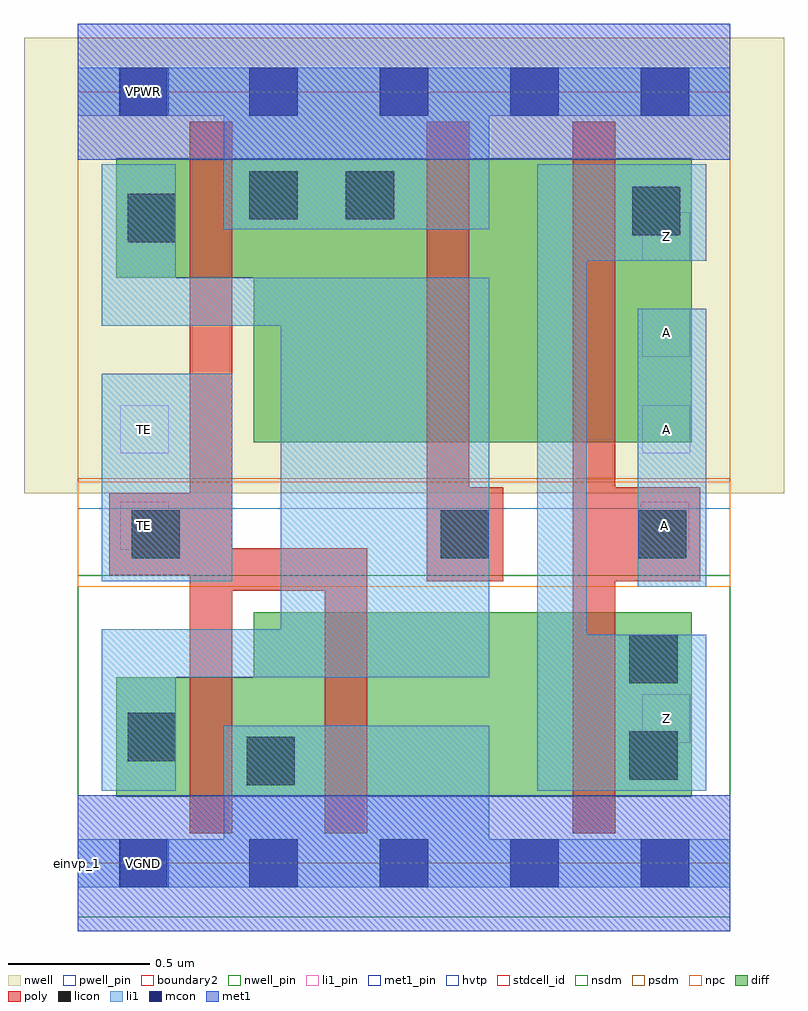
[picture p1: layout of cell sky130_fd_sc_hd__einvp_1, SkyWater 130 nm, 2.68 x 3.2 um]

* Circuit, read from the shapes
.subckt sky130_fd_sc_hd__einvp_1 A TE VGND VNB VPB VPWR Z
XM1 VGND TE n1 VNB sky130_fd_pr__nfet_01v8 w=0.42 l=0.15
XM2 n2 TE VGND VNB sky130_fd_pr__nfet_01v8 w=0.65 l=0.15
XM3 Z A n2 VNB sky130_fd_pr__nfet_01v8 w=0.65 l=0.15
XM4 VPWR TE n1 VPB sky130_fd_pr__pfet_01v8_hvt w=0.42 l=0.15
XM5 n3 n1 VPWR VPB sky130_fd_pr__pfet_01v8_hvt w=1 l=0.15
XM6 Z A n3 VPB sky130_fd_pr__pfet_01v8_hvt w=1 l=0.15
.ends

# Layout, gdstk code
import gdstk
lib = gdstk.Library(unit=1e-6, precision=1e-09)
def R(c, l, rs):  # rectangles x0, y0, x1, y1
    for r in rs: c.add(gdstk.rectangle(r[:2], r[2:], *l))
def A(c, l, x, y, w, h, nx, ny, dx, dy):  # array of equal rectangles
    R(c, l, [(x+i*dx, y+j*dy, x+i*dx+w, y+j*dy+h) for i in range(nx) for j in range(ny)])
def P(c, l, *ps):  # polygons
    for p in ps: c.add(gdstk.Polygon(p, *l))
nwell_pin = (64, 16)
nwell = (64, 20)
diff = (65, 20)
poly = (66, 20)
licon = (66, 44)
li1_pin = (67, 16)
li1 = (67, 20)
mcon = (67, 44)
met1_pin = (68, 16)
met1 = (68, 20)
hvtp = (78, 44)
stdcell_id = (81, 4)
nsdm = (93, 44)
psdm = (94, 20)
npc = (95, 20)
pwell_pin = (122, 16)
boundary2 = (236, 0)

sky130_fd_sc_hd__einvp_1 = lib.new_cell('sky130_fd_sc_hd__einvp_1')
R(sky130_fd_sc_hd__einvp_1, nwell_pin, [(0.15,2.635,0.32,2.805)])
R(sky130_fd_sc_hd__einvp_1, nwell, [(-0.19,1.305,2.49,2.91)])
P(sky130_fd_sc_hd__einvp_1, diff, [(2.165,0.885),(0.62,0.885),(0.62,0.655),(0.135,0.655),(0.135,0.235),(2.165,0.235)],
  [(2.165,2.485),(0.135,2.485),(0.135,2.065),(0.62,2.065),(0.62,1.485),(2.165,1.485)])
R(sky130_fd_sc_hd__einvp_1, poly, [(0.11,1.015,0.395,1.025), (0.11,1.295,0.395,1.305)])
P(sky130_fd_sc_hd__einvp_1, poly, [(1.5,1.325),(1.38,1.325),(1.38,2.615),(1.23,2.615),(1.23,0.995),(1.5,0.995)],
  [(2.195,1.325),(1.895,1.325),(1.895,2.615),(1.745,2.615),(1.745,0.105),(1.895,0.105),(1.895,0.995),(2.195,0.995)],
  [(1.02,1.11),(0.545,1.11),(0.545,2.615),(0.395,2.615),(0.395,1.295),(0.11,1.295),(0.11,1.025),(0.395,1.025),(0.395,0.105),(0.545,0.105),(0.545,0.96),(0.87,0.96),(0.87,0.105),(1.02,0.105)])
R(sky130_fd_sc_hd__einvp_1, licon, [(0.595,0.275,0.765,0.445), (1.945,0.295,2.115,0.465), (0.175,0.36,0.345,0.53), (1.945,0.635,2.115,0.805), (0.19,1.075,0.36,1.245), (1.28,1.075,1.45,1.245), (1.975,1.075,2.145,1.245), (0.175,2.19,0.345,2.36), (1.955,2.215,2.125,2.385), (0.605,2.27,0.775,2.44), (0.945,2.27,1.115,2.44)])
A(sky130_fd_sc_hd__einvp_1, li1_pin, 1.99, 1.445, 0.17, 0.17, 1, 3, 0, 0.34)
R(sky130_fd_sc_hd__einvp_1, li1_pin, [(1.99,0.425,2.16,0.595), (0.15,1.105,0.32,1.275), (1.985,1.105,2.155,1.275), (0.15,1.445,0.32,1.615)])
R(sky130_fd_sc_hd__einvp_1, li1, [(1.975,0.975,2.215,1.955), (0.085,0.995,0.545,1.725)])
P(sky130_fd_sc_hd__einvp_1, li1, [(2.215,0.805),(1.795,0.805),(1.795,2.125),(2.215,2.125),(2.215,2.465),(1.62,2.465),(1.62,0.255),(2.215,0.255)],
  [(2.3,2.805),(0,2.805),(0,2.635),(0.515,2.635),(0.515,2.235),(1.45,2.235),(1.45,2.635),(2.3,2.635)],
  [(1.45,2.065),(0.345,2.065),(0.345,2.465),(0.085,2.465),(0.085,1.895),(0.715,1.895),(0.715,0.825),(0.085,0.825),(0.085,0.255),(0.345,0.255),(0.345,0.655),(1.45,0.655)],
  [(2.3,0.085),(1.45,0.085),(1.45,0.485),(0.515,0.485),(0.515,0.085),(0,0.085),(0,-0.085),(2.3,-0.085)])
A(sky130_fd_sc_hd__einvp_1, mcon, 0.145, -0.085, 0.17, 0.17, 5, 2, 0.46, 2.72)
R(sky130_fd_sc_hd__einvp_1, met1_pin, [(0.15,-0.085,0.32,0.085), (0.15,2.635,0.32,2.805)])
R(sky130_fd_sc_hd__einvp_1, hvtp, [(0,1.25,2.3,2.72)])
R(sky130_fd_sc_hd__einvp_1, stdcell_id, [(0,0,2.3,2.72)])
R(sky130_fd_sc_hd__einvp_1, nsdm, [(0,-0.19,2.3,1.015)])
R(sky130_fd_sc_hd__einvp_1, psdm, [(0,1.355,2.3,2.91)])
R(sky130_fd_sc_hd__einvp_1, npc, [(0,0.975,2.3,1.345)])
R(sky130_fd_sc_hd__einvp_1, pwell_pin, [(0.15,-0.085,0.32,0.085)])
R(sky130_fd_sc_hd__einvp_1, boundary2, [(0,0,2.3,2.72)])
sky130_fd_sc_hd__einvp_1.add(gdstk.FlexPath([(0,2.72),(2.3,2.72)], 0.48, ends="flush", simple_path=True, layer=68, datatype=20))  # met1
sky130_fd_sc_hd__einvp_1.add(gdstk.FlexPath([(0,0),(2.3,0)], 0.48, ends="flush", simple_path=True, layer=68, datatype=20))  # met1
sky130_fd_sc_hd__einvp_1.add(gdstk.Label('TE', (0.235,1.19), layer=67, texttype=5))
sky130_fd_sc_hd__einvp_1.add(gdstk.Label('TE', (0.235,1.53), layer=67, texttype=5))
sky130_fd_sc_hd__einvp_1.add(gdstk.Label('A', (2.07,1.19), layer=67, texttype=5))
sky130_fd_sc_hd__einvp_1.add(gdstk.Label('A', (2.075,1.87), layer=67, texttype=5))
sky130_fd_sc_hd__einvp_1.add(gdstk.Label('A', (2.075,1.53), layer=67, texttype=5))
sky130_fd_sc_hd__einvp_1.add(gdstk.Label('Z', (2.075,2.21), layer=67, texttype=5))
sky130_fd_sc_hd__einvp_1.add(gdstk.Label('Z', (2.075,0.51), layer=67, texttype=5))
sky130_fd_sc_hd__einvp_1.add(gdstk.Label('VPWR', (0.23,2.72), layer=68, texttype=5))
sky130_fd_sc_hd__einvp_1.add(gdstk.Label('VGND', (0.23,0), layer=68, texttype=5))
sky130_fd_sc_hd__einvp_1.add(gdstk.Label('VPB', (0.235,2.72), layer=64, texttype=5))
sky130_fd_sc_hd__einvp_1.add(gdstk.Label('VNB', (0.235,0), layer=64, texttype=59))
sky130_fd_sc_hd__einvp_1.add(gdstk.Label('einvp_1', (0,0), layer=83, texttype=44))

lib.write_gds('sky130_fd_sc_hd__einvp_1.gds')
